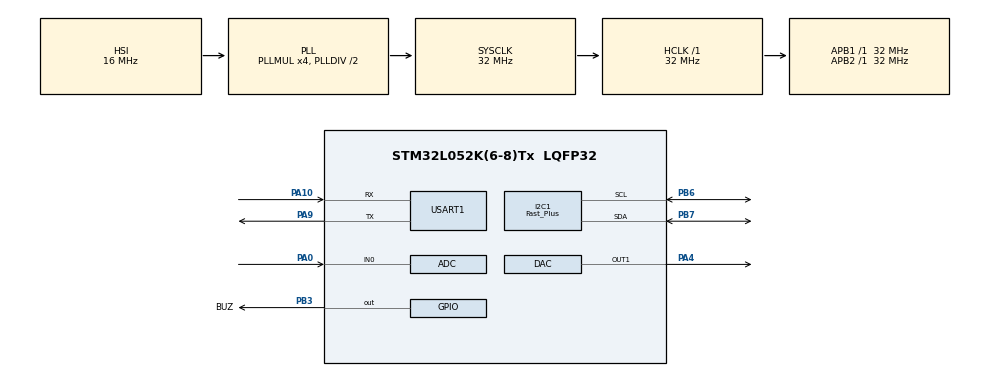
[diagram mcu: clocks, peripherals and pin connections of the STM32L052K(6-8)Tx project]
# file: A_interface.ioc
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ADC.ContinuousConvMode=DISABLE
ADC.DMAContinuousRequests=DISABLE
ADC.EOCSelection=ADC_EOC_SINGLE_CONV
ADC.OversamplingMode=DISABLE
ADC.SamplingTime=ADC_SAMPLETIME_1CYCLE_5
ADC.ScanConvMode=ADC_SCAN_DIRECTION_FORWARD
DAC.DAC_OutputBuffer=DAC_OUTPUTBUFFER_ENABLE
DAC.DAC_Trigger=DAC_TRIGGER_NONE
Dma.ADC.0.Direction=DMA_PERIPH_TO_MEMORY
Dma.ADC.0.Instance=DMA1_Channel1
Dma.ADC.0.MemDataAlignment=DMA_MDATAALIGN_HALFWORD
Dma.ADC.0.MemInc=DMA_MINC_ENABLE
Dma.ADC.0.Mode=DMA_NORMAL
Dma.ADC.0.PeriphDataAlignment=DMA_PDATAALIGN_HALFWORD
Dma.ADC.0.PeriphInc=DMA_PINC_DISABLE
Dma.ADC.0.Priority=DMA_PRIORITY_VERY_HIGH
Dma.Request0=ADC
I2C1.I2C_Speed_Mode=I2C_Fast_Plus
I2C1.Speed=1000
I2C1.Timing=0x00100413
Mcu.Family=STM32L0
Mcu.Name=STM32L052K(6-8)Tx
Mcu.Package=LQFP32
NVIC.DMA1_Channel1_IRQn=true\:0\:0\:false\:false\:true\:false\:true\:true
NVIC.TIM6_DAC_IRQn=true\:0\:0\:false\:true\:true\:1\:true\:true\:true
PA0.Mode=IN0
PA0.Signal=ADC_IN0
PA10.Mode=Asynchronous
PA10.Signal=USART1_RX
PA4.Signal=COMP_DAC1_group
PA9.Mode=Asynchronous
PA9.Signal=USART1_TX
PB3.GPIO_Label=BUZ
PB3.GPIO_PuPd=GPIO_PULLDOWN
PB3.Signal=GPIO_Output
PB6.GPIO_Pu=GPIO_PULLUP
PB6.Mode=I2C
PB6.Signal=I2C1_SCL
PB7.GPIO_Pu=GPIO_PULLUP
PB7.Mode=I2C
PB7.Signal=I2C1_SDA
ProjectManager.HeapSize=0x200
ProjectManager.StackSize=0x400
ProjectManager.TargetToolchain=STM32CubeIDE
RCC.AHBFreq_Value=32000000
RCC.APB1Freq_Value=32000000
RCC.APB1TimFreq_Value=32000000
RCC.APB2Freq_Value=32000000
RCC.APB2TimFreq_Value=32000000
RCC.HCLKFreq_Value=32000000
RCC.HSI16_VALUE=16000000
RCC.HSI48_VALUE=48000000
RCC.HSI_VALUE=16000000
RCC.LSE_VALUE=32768
RCC.MSI_VALUE=2097000
RCC.PLLMUL=RCC_PLLMUL_4
RCC.SYSCLKFreq_VALUE=32000000
RCC.SYSCLKSource=RCC_SYSCLKSOURCE_PLLCLK
RCC.VCOOutputFreq_Value=64000000
SH.COMP_DAC1_group.0=DAC_OUT1,DAC_OUT1
TIM6.Period=600-1
TIM6.Prescaler=4-1
USART1.VirtualMode-Asynchronous=VM_ASYNC
VP_TIM6_VS_ClockSourceINT.Mode=Enable_Timer
board=custom

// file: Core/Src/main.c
/* USER CODE BEGIN Header */
/**
 ******************************************************************************
 * @file           : main.c
 * @brief          : Main program body
 ******************************************************************************
 * @attention
 *
 * Copyright (c) 2023 STMicroelectronics.
 * All rights reserved.
 *
 * This software is licensed under terms that can be found in the LICENSE file
 * in the root directory of this software component.
 * If no LICENSE file comes with this software, it is provided AS-IS.
 *
 ******************************************************************************
 */
/* USER CODE END Header */
#include "main.h"

/* USER CODE BEGIN Includes */
#include <stdio.h>
#include <stdlib.h>
#include <string.h>
#include "DS3231.h"
#include "FT6206.h"
#include "LCD.h"
/* USER CODE END Includes */

/* USER CODE BEGIN PTD */

/* struct define start */
typedef struct{
	uint8_t year, month, day;
	uint8_t hour, min, sec;
}TIME;

typedef struct{
	uint16_t x;
	uint16_t y;
}POS;
/* struct define  end */

/* enum define start */
typedef enum{
	Background_Color_ADDR,
	Text_Color_ADDR,
	Volume_ADDR,
	Pitch_ADDR,
}ADDR;

typedef enum{
	main_menu,
	sound_menu,
	setting_menu,
	select_menu,
}MODE;

typedef enum{
	none_xy,
	have_xy,
}TOUCH_STATE;

typedef enum{
	get_coordinate,
	reset_coordinate,
}readTouchState;

typedef enum{
	PITCH_STATE_0,
	PITCH_STATE_1,
	PITCH_STATE_2,
	PITCH_STATE_3,
	PITCH_STATE_4,
	PITCH_STATE_5,
	PITCH_STATE_6,
	PITCH_STATE_7,
	PITCH_STATE_8,
	PITCH_STATE_9,
	PITCH_STATE_10,
}PITCH_STATE;

typedef enum{
	origin_setting,
	reset_setting,
}SETTING_RESET_STATE;

typedef enum{
	init_time,
	load_time,
}TIME_LOAD_STATE;

typedef enum{
	speaker_off,
	speaker_on,
}SPEAKER_STATE;
/* enum define end */

/* USER CODE END PTD */

/* USER CODE BEGIN PM */
#define RECT 53
#define BUZ(X) BUZ_GPIO_Port->BSRR = (X) ? BUZ_Pin : BUZ_Pin << 16
#define XYsetZero curXY.x = curXY.y = 0
#define SOUND_IN (adcV > 150)
/* USER CODE END PM */

ADC_HandleTypeDef hadc;
DMA_HandleTypeDef hdma_adc;

DAC_HandleTypeDef hdac;

I2C_HandleTypeDef hi2c1;

TIM_HandleTypeDef htim6;

UART_HandleTypeDef huart1;

/* USER CODE BEGIN PV */

const LCD_COLOR lcd_color[6] = { black, blue, green, red, yellow, white };
const uint8_t lastDay[12] = { 31, 28, 31, 30, 31, 30, 31, 31, 30, 31, 30, 31 };

LCD_COLOR set_tcolor = black, set_bcolor = white;
LCD_COLOR txt_color[17] = { black }, back_color[17] = { white };

TS_POINT curXY = { 0, 0, 0 };

TIME time = { 23, 6, 22, 0, 0, 0 };

MODE modeF = main_menu, backupM = main_menu;

TOUCH_STATE touched_check = none_xy;
readTouchState getTouch_state = reset_coordinate;

PITCH_STATE pitch_state = PITCH_STATE_5;

uint8_t firF, buzM, sel;
uint16_t buzC;

uint8_t coor_volume = 135, coor_pitch = 135;
uint16_t max_volume = 75;
uint32_t adcV = 0;

SPEAKER_STATE sound_start = speaker_off;
uint32_t tick = 0, value = 0;
float pitch = 1.0;

/* USER CODE END PV */

void SystemClock_Config(void);
static void MX_GPIO_Init(void);
static void MX_ADC_Init(void);
static void MX_DAC_Init(void);
static void MX_I2C1_Init(void);
static void MX_DMA_Init(void);
static void MX_TIM6_Init(void);
static void MX_USART1_UART_Init(void);
static void MX_NVIC_Init(void);
/* USER CODE BEGIN PFP */

/* Function prototype define Start */
__STATIC_INLINE void time_set(void);
__STATIC_INLINE void time_get(void);
__STATIC_INLINE void pitch_set(void);
__STATIC_INLINE void reset_value(void);
__STATIC_INLINE void system_reset(void);
__STATIC_INLINE void LCD_Clear(LCD_COLOR color);
__STATIC_INLINE void eepWrite(uint8_t addr, uint8_t data);
__STATIC_INLINE uint8_t eepRead(uint8_t addr);
__STATIC_INLINE uint8_t checkReset_status(void);
__STATIC_INLINE uint8_t xy_check(uint16_t x0, uint16_t x1, uint16_t y0, uint16_t y1);
void start(void);
void VP_save(void);
void VP_read(void);
void start_dis(void);
void main_mode(void);
void color_save(void);
void color_read(void);
void select_mode(void);
void All_eepRead(void);
void All_eepWrite(void);
void setting_mode(void);
void modulation_mode(void);
void time_setting(TIME_LOAD_STATE state);
void Init_setting(SETTING_RESET_STATE state);
void LCD_putsXY(uint16_t x, uint16_t y, char* str, LCD_COLOR color, LCD_COLOR bg_color);
void array_puts(POS* pos, char* title, char** arr, LCD_COLOR* color, LCD_COLOR* bg_color, uint8_t num);
/* Function prototype define End */

/* Inline Function Define Start */
__STATIC_INLINE void time_set(void){
	DS3231_set_time(time.sec, time.min, time.hour);
	DS3231_set_date(time.day, time.month, time.year);
}

__STATIC_INLINE void time_get(void){
	DS3231_get_time(&time.sec, &time.min, &time.hour);
	DS3231_get_date(&time.day, &time.month, &time.year);
}

__STATIC_INLINE uint8_t xy_check(uint16_t x0, uint16_t x1, uint16_t y0, uint16_t y1){
	return ((curXY.x >= x0 * 15 && curXY.x <= x1 * 15) && (curXY.y >= y0 * 19 && curXY.y <= y1 * 19));
}

__STATIC_INLINE void LCD_Clear(LCD_COLOR color){
	LCD_FillScreen(color);
}

__STATIC_INLINE void reset_value(void){
	backupM = modeF;
	touched_check = none_xy;
	modeF = firF = buzM = 0;
	XYsetZero;
	LCD_Clear(set_bcolor);
}

__STATIC_INLINE void pitch_set(void){
	switch(pitch_state){
	case PITCH_STATE_10:   pitch =  0.1;     break;
	case PITCH_STATE_9:    pitch =  0.2;     break;
	case PITCH_STATE_8:    pitch =  0.4;     break;
	case PITCH_STATE_7:    pitch =  0.8;     break;
	case PITCH_STATE_6:    pitch =  0.9;     break;
	case PITCH_STATE_5:    pitch =  1.0;     break;
	case PITCH_STATE_4:    pitch =  2.5;     break;
	case PITCH_STATE_3:    pitch =  4.5;     break;
	case PITCH_STATE_2:    pitch =  8.5;     break;
	case PITCH_STATE_1:    pitch =  9.5;     break;
	case PITCH_STATE_0:    pitch = 10.5;     break;
	}
}

__STATIC_INLINE void eepWrite(uint8_t addr, uint8_t data){
	HAL_FLASHEx_DATAEEPROM_Unlock();
	*(__IO uint8_t*)(DATA_EEPROM_BASE + addr) = data;
	HAL_FLASHEx_DATAEEPROM_Lock();
}

__STATIC_INLINE uint8_t eepRead(uint8_t addr){
	return *(__IO uint8_t*)(DATA_EEPROM_BASE + addr);
}

__STATIC_INLINE void system_reset(void){
	HAL_DeInit();
	HAL_NVIC_SystemReset();
}

__STATIC_INLINE uint8_t checkReset_status(void){
	if(__HAL_RCC_GET_FLAG(RCC_FLAG_SFTRST)){
		All_eepRead();

		if(set_tcolor == set_bcolor) { set_tcolor = black; set_bcolor = white; }

		if(coor_volume < 60 || coor_volume > 210) coor_volume = 135;

		if(coor_pitch < 60 || coor_pitch > 210) coor_pitch = 135;

		return 0;
	}
	else{
		Init_setting(reset_setting);

		All_eepWrite();

		Init_setting(origin_setting);

		return 1;
	}
}
/* Inline Function Define End */

/* USER CODE END PFP */

/* USER CODE BEGIN 0 */

void Init_setting(SETTING_RESET_STATE state){
	switch(state){
	case origin_setting:
		coor_volume = 135;
		coor_pitch = 135;

		set_tcolor = black;
		set_bcolor = white;
		break;
	case reset_setting:
		coor_volume = 0;
		coor_pitch = 0;

		set_tcolor = black;
		set_bcolor = black;
		break;
	}
}

void color_save(void){
	eepWrite(Text_Color_ADDR, set_tcolor);
	eepWrite(Background_Color_ADDR, set_bcolor);
}

void color_read(void){
	set_tcolor = eepRead(Text_Color_ADDR);
	set_bcolor = eepRead(Background_Color_ADDR);
}

void VP_save(void){
	eepWrite(Pitch_ADDR, coor_pitch);
	eepWrite(Volume_ADDR, coor_volume);
}

void VP_read(void){
	coor_pitch = eepRead(Pitch_ADDR);
	coor_volume = eepRead(Volume_ADDR);
}

void All_eepRead(void){
	VP_read();
	color_read();
}

void All_eepWrite(void){
	VP_save();
	color_save();
}

void LCD_putsXY(uint16_t x, uint16_t y, char* str, LCD_COLOR color, LCD_COLOR bg_color){
	LCD_DrawText(str, x * 15, y * 19, color, bg_color);
}

void array_puts(POS* pos, char* title, char** arr, LCD_COLOR* color, LCD_COLOR* bg_color, uint8_t num){
	LCD_putsXY(0, 0, title, set_tcolor, set_bcolor);
	for(uint8_t i = 0 ; i < num ; i++)
		LCD_putsXY(pos[i].x, pos[i].y, arr[i], color[i], bg_color[i]);
}

void time_setting(TIME_LOAD_STATE state){
	uint8_t sel = 0;
	TIME set_time = { 23, 6, 22, 0, 0, 0 };

	POS pos[9] = {{5, 4}, {10, 4}, {14, 4}, {6, 5}, {10, 5}, {14, 5}, {7, 8}, {12, 8}, {17, 10}};
	char bf[6][20];

	if(state == load_time){
		time_get();
		set_time = time;
	}

	LCD_Clear(set_bcolor);
	while(1){
		if(!firF){
			firF = 1;

			XYsetZero;

			LCD_putsXY(6, 1, "< Time Setting >", set_tcolor, set_bcolor);
		}

		for(uint8_t i = 0 ; i < 9 ; i++){
			back_color[i] = set_bcolor;
			if(sel == i) {
				if(set_tcolor == white && set_bcolor == black) txt_color[i] = blue;
				else{
					txt_color[i] = (set_tcolor + 1) % 7;
					if(txt_color[i] == set_bcolor) txt_color[i] = (set_bcolor + 1) % 7;
				}
			}
			else txt_color[i] = set_tcolor;
		}
		if(set_time.day > lastDay[set_time.month - 1]) set_time.day = lastDay[set_time.month - 1];

		sprintf(bf[0], "Y:%04d", 2000 + set_time.year);
		sprintf(bf[1], "M:%02d", set_time.month);
		sprintf(bf[2], "D:%02d", set_time.day);
		sprintf(bf[3], "H:%02d", set_time.hour);
		sprintf(bf[4], "m:%02d", set_time.min);
		sprintf(bf[5], "S:%02d", set_time.sec);

		char* array[9] = { bf[0], bf[1], bf[2], bf[3], bf[4], bf[5], "UP", "DOWN", "OK!" };
		array_puts(pos, "", array, txt_color, back_color, 9);

		if((curXY.x >0 || curXY.y > 0)){
			if(xy_check(17, 17 + strlen("OK!"), 10, 11))       break;
			else if(xy_check(5, 5 + strlen(bf[0]), 4, 5))      sel = 0;
			else if(xy_check(10, 10 + strlen(bf[1]), 4, 5))    sel = 1;
			else if(xy_check(14, 14 + strlen(bf[2]), 4, 5))    sel = 2;
			else if(xy_check(6, 7 + strlen(bf[3]), 5, 6))      sel = 3;
			else if(xy_check(10, 10 + strlen(bf[4]), 5, 6))    sel = 4;
			else if(xy_check(14, 14 + strlen(bf[5]), 5, 6))    sel = 5;
			else{
				static uint32_t frev_tick;
				uint32_t now_tick = HAL_GetTick();
				if(now_tick - frev_tick > 500){
					frev_tick = now_tick;
					if(xy_check(7, 7 + strlen("UP"), 7, 9)){
						if(sel == 0 && set_time.year < 99)                                   set_time.year++;
						else if(sel == 1 && set_time.month < 12)                             set_time.month++;
						else if(sel == 2 && set_time.day < lastDay[set_time.month - 1])      set_time.day++;
						else if(sel == 3 && set_time.hour < 23)                              set_time.hour++;
						else if(sel == 4 && set_time.min < 59)                               set_time.min++;
						else if(sel == 5 && set_time.sec < 59)                               set_time.sec++;
					}
					else if(xy_check(12, 12 + strlen("DOWN"), 7, 9)){
						if(sel == 0 && set_time.year > 0)                                    set_time.year--;
						else if(sel == 1 && set_time.month > 1)                              set_time.month--;
						else if(sel == 2 && set_time.day > 1)                                set_time.day--;
						else if(sel == 3 && set_time.hour > 0)                               set_time.hour--;
						else if(sel == 4 && set_time.min > 0)                                set_time.min--;
						else if(sel == 5 && set_time.sec > 0)                                set_time.sec--;
					}
				}
			}
		}
	}
	time = set_time;
	time_set();
	buzM = 1;
	firF = 0;
}

void start_dis(void){
	LCD_Clear(set_bcolor);
	LCD_putsXY(3, 4, "< Skill Competition Task 3 >", set_tcolor, set_bcolor);
	LCD_putsXY(7, 6, "Audio Interface", set_tcolor, set_bcolor);
	HAL_Delay(2000);
}

void start(void){
	uint8_t state = checkReset_status();

	start_dis();

	if(state) time_setting(init_time);
	else LCD_Clear(set_bcolor);
	__HAL_RCC_CLEAR_RESET_FLAGS();
}

void main_mode(void){
	if(!firF){
		firF = 1;
		XYsetZero;
		touched_check = have_xy;

		LCD_Clear(set_bcolor);

		for(uint8_t i = 0 ; i < 17 ; i++){
			txt_color[i] = set_tcolor;
			back_color[i] = set_bcolor;
		}
	}
	time_get();
	char bf[40];
	POS pos[4] = {{0, 1}, {2, 4}, {2, 7}, {15, 1}};
	sprintf(bf, "%04d.%02d.%02d %02d:%02d:%02d", 2000 + time.year, time.month, time.day, time.hour, time.min, time.sec);

	char* array[4] = { bf, "1. Sound modulation", "2. Color Setting", "Back" };
	array_puts(pos, ">Main", array, txt_color, back_color, 4);

	if(touched() == none_xy && touched_check == have_xy) touched_check = none_xy;

	if((curXY.x > 0 || curXY.y > 0) && touched_check == none_xy){
		if(xy_check(2, 2 + strlen("1. Sound modulation") - 6, 4, 4 + 1))        {  reset_value(); modeF = sound_menu;   }
		else if(xy_check(2, 2 + strlen("2. Color Setting") - 6, 7, 7 + 1))      {  reset_value(); modeF = setting_menu; }
		else if(xy_check(0, strlen(bf) - 6, 1, 1 + 1))                          {  firF = 0; time_setting(load_time);   }
		else if(xy_check(15, 15 + strlen("Back"), 1, 1 + 1))                    {  reset_value(); system_reset();       }
		else if(xy_check(0, strlen(">Main"),0, 1))                              {  reset_value(); modeF = select_menu;  }
	}
}

void modulation_mode(void){
	if(!firF){
		firF = 1;

		XYsetZero;
		touched_check = have_xy;

		LCD_Clear(set_bcolor);

		for(uint8_t i = 0 ; i < 17 ; i++){
			txt_color[i] = set_tcolor;
			back_color[i] = set_bcolor;
		}
	}

	for(PITCH_STATE i = PITCH_STATE_0 ; i <= PITCH_STATE_10 ; i++){
		if(coor_pitch >= 60 + (14 * i) && coor_pitch <= 74 + (14 * i)){
			pitch_state = i;
			break;
		}
	}

	max_volume = coor_volume - 60;
	if(max_volume > 100) max_volume = 100;

	time_get();
	char bf[3][20];
	POS pos[6] = {{0, 1}, {15, 1}, {1, 4}, {1, 6}, {1, 8}, {5, 4},};
	sprintf(bf[0], "%04d.%02d.%02d %02d:%02d:%02d", 2000 + time.year, time.month, time.day, time.hour, time.min, time.sec);
	sprintf(bf[1], "Volume: %d   ", max_volume);
	sprintf(bf[2], "Pitch: %d   ", pitch_state);

	txt_color[5] = sound_start == speaker_off ? set_tcolor : set_bcolor;
	back_color[5] = sound_start == speaker_off ? set_bcolor : set_tcolor;

	char* array[6] = { bf[0], "Back", "Sound: ", bf[1], bf[2], sound_start == speaker_off ? "OFF " : "ON " };
	array_puts(pos, ">Modulation", array, txt_color, back_color, 6);

	/* Volume Bar Start */
	LCD_DrawHollowCircle(200, 60, 5, set_tcolor);
	LCD_DrawHollowCircle(200, 210, 5, set_tcolor);
	LCD_DrawVLine(200, 65, 141, set_tcolor);
	LCD_DrawFilledCircle(200, (uint16_t)coor_volume, 10, set_tcolor);
	/* Volume Bar End */

	/* Pitch Bar Start */
	LCD_DrawHollowCircle(250, 60, 5, set_tcolor);
	LCD_DrawHollowCircle(250, 210, 5, set_tcolor);
	LCD_DrawVLine(250, 65, 141, set_tcolor);
	LCD_DrawFilledCircle(250, (uint16_t)coor_pitch, 10, set_tcolor);
	/* Pitch Bar End */

	if(touched() == none_xy && touched_check == have_xy) touched_check = none_xy;

	if((curXY.x > 0 || curXY.y > 0) && touched_check == none_xy){
		if(xy_check(15, 15 + strlen("Back"), 1, 1 + 1)){
			VP_save();
			reset_value();
			buzM = 1;
		}
		else if(xy_check(0, strlen(bf[0]) - 6, 1, 1 + 1)) { firF = 0; time_setting(load_time); }
		else if(xy_check(5, 5 + strlen("OFF"), 4, 4 + 1)) {
			touched_check = have_xy;
//			sound_start = sound_start == speaker_off ? speaker_on : speaker_off;
			if(sound_start == speaker_off) sound_start = speaker_on;
			else sound_start = speaker_off;
		}
		if(curXY.y >= 60 && curXY.y <= 210){
			TS_POINT current_xy = curXY;
			if(curXY.x >= 190 && curXY.x <= 210){
				LCD_DrawFilledCircle(200, (uint16_t)coor_volume, 10, set_bcolor);
				coor_volume = (uint8_t)current_xy.y;
			}
			else if(curXY.x >= 240 && curXY.x <= 260){
				LCD_DrawFilledCircle(250, (uint16_t)coor_pitch, 10, set_bcolor);
				coor_pitch = (uint8_t)current_xy.y;
			}
		}
		else if(xy_check(0, strlen(">Modulation"),0, 1)) { VP_save(); reset_value(); modeF = select_menu; buzM = 1; }
	}
}

void setting_mode(void){
	static LCD_COLOR t_color = white, b_color = black;
	if(!firF){
		firF = 1;

		XYsetZero;
		touched_check = have_xy;

		LCD_Clear(set_bcolor);

		sel = 0;
		t_color = set_tcolor;
		b_color = set_bcolor;

		for(uint8_t i = 0 ; i < 17 ; i++){
			txt_color[i] = set_tcolor;
			back_color[i] = set_bcolor;
		}
	}

	time_get();
	char bf[3][20];
	POS pos[6] = {{0, 1}, {2, 4}, {2, 6}, {14, 4}, {14, 6}, {15, 1}};
	sprintf(bf[0], "%04d.%02d.%02d %02d:%02d:%02d", 2000 + time.year, time.month, time.day, time.hour, time.min, time.sec);

	back_color[1] = sel == 0 ? set_tcolor : set_bcolor;
	back_color[2] = sel == 1 ? set_tcolor : set_bcolor;

	txt_color[1] = sel == 0 ? set_bcolor : set_tcolor;
	txt_color[2] = sel == 1 ? set_bcolor : set_tcolor;

	txt_color[3] = t_color;
	txt_color[4] = b_color;

	sprintf(bf[1], "%s    ", t_color == black ? "Black" : t_color == blue ? "Blue" : t_color == green ? "Green" : t_color == red ? "Red" : t_color == yellow ? "Yellow" : "White");
	sprintf(bf[2], "%s    ", b_color == black ? "Black" : b_color == blue ? "Blue" : b_color == green ? "Green" : b_color == red ? "Red" : b_color == yellow ? "Yellow" : "White");

	for(uint8_t i = 0 ; i < 6 ; i++)
		LCD_DrawFilledRectangleCoord(RECT * i, 190, RECT * (i + 1), 240, lcd_color[i]);
	LCD_DrawFilledRectangleCoord(265, 190, 320, 240, white);

	char* array[6] = { bf[0], "Text Color:", "Background Color:", bf[1], bf[2], "Back" };
	array_puts(pos, ">Setting", array, txt_color, back_color, 6);

	if(touched() == none_xy && touched_check == have_xy) touched_check = none_xy;

	if((curXY.x > 0 || curXY.y > 0) && touched_check == none_xy){
		touched_check = have_xy;
		if(xy_check(15, 15 + strlen("Back"), 1, 1 + 1)){
			if(t_color != b_color){
				set_tcolor = t_color;
				set_bcolor = b_color;
			}
			color_save();
			reset_value();
			buzM = 1;
		}
		else if(xy_check(0, strlen(bf[0]) - 6, 1, 1 + 1)) { firF = 0; time_setting(load_time); }
		else if(xy_check(2, 2 + strlen("Text Color") - 6, 4, 4 + 1))       sel = 0;
		else if(xy_check(2, 2 + strlen("Background Color") - 6, 6, 6 + 1)) sel = 1;
		else if(curXY.y > 190){
			if(curXY.x < RECT)              {  if(sel == 0) t_color = black;    else b_color = black;  }
			else if(curXY.x < RECT * 2)     {  if(sel == 0) t_color = blue;     else b_color = blue;   }
			else if(curXY.x < RECT * 3)     {  if(sel == 0) t_color = green;    else b_color = green;  }
			else if(curXY.x < RECT * 4)     {  if(sel == 0) t_color = red;      else b_color = red;    }
			else if(curXY.x < RECT * 5)     {  if(sel == 0) t_color = yellow;   else b_color = yellow; }
			else if(curXY.x < RECT * 6)     {  if(sel == 0) t_color = white;    else b_color = white;  }
		}
		else if(xy_check(0, strlen(">Setting"), 0, 1)) { color_save(); reset_value(); modeF = select_menu; buzM = 1; }
	}
}

void select_mode(void){
	if(!firF){
		firF = 1;
		XYsetZero;
		touched_check = have_xy;

		LCD_Clear(set_bcolor);
	}

	for(uint8_t i = 0 ; i < 17 ; i++){
		if(i == 1 + backupM){
			txt_color[i] = set_bcolor;
			back_color[i] = set_tcolor;
		}
		else{
			txt_color[i] = set_tcolor;
			back_color[i] = set_bcolor;
		}
	}
	time_get();
	char bf[40];
	POS pos[4] = {{0, 1}, {0, 4}, {0, 6}, {0, 8}};
	sprintf(bf, "%04d.%02d.%02d %02d:%02d:%02d", 2000 + time.year, time.month, time.day, time.hour, time.min, time.sec);

	char* array[4] = { bf, "Main Menu", "Modulation Mode", "Setting Mode" };
	array_puts(pos, ">Mode Select", array, txt_color, back_color, 4);

	if(touched() == none_xy && touched_check == have_xy) touched_check = none_xy;

	if((curXY.x > 0 || curXY.y > 0) && touched_check == none_xy){
		if(xy_check(0, strlen(bf) - 6, 1, 1 + 1))                        { firF = 0; time_setting(load_time);   }
		else if(xy_check(0, strlen("Main Menu"), 4, 4 + 1))              { reset_value(); modeF = main_menu;    }
		else if(xy_check(0, strlen("Modulation Mode"), 6, 6 + 1))        { reset_value(); modeF = sound_menu;   }
		else if(xy_check(0, strlen("Setting Mode"), 8, 8 + 1))           { reset_value(); modeF = setting_menu; }
	}
}

void HAL_SYSTICK_Callback(void){
	if(buzM) buzC++;

	if(buzM == 1){
		if(buzC < 500) BUZ(1);
		else{
			buzM = buzC = 0;
			BUZ(0);
		}
	}

	if(touched() >= have_xy) getTouch_state = get_coordinate;
	else getTouch_state = reset_coordinate;
	curXY = getPoint(getTouch_state);
}

void (*main_fuc[4])(void) = { main_mode, modulation_mode, setting_mode, select_mode };

/* USER CODE END 0 */

int main(void)
{

	/* MCU Configuration--------------------------------------------------------*/

	/* Reset of all peripherals, Initializes the Flash interface and the Systick. */
	HAL_Init();

	/* Configure the system clock */
	SystemClock_Config();

	/* Initialize all configured peripherals */
	MX_GPIO_Init();
	MX_ADC_Init();
	MX_DAC_Init();
	MX_I2C1_Init();
	MX_DMA_Init();
	MX_TIM6_Init();
	MX_USART1_UART_Init();

	/* Initialize interrupts */
	MX_NVIC_Init();
	/* USER CODE BEGIN 2 */
	HAL_TIM_Base_Start_IT(&htim6);
	HAL_DAC_Start(&hdac, DAC_CHANNEL_1);
	HAL_DAC_SetValue(&hdac, DAC_CHANNEL_1, DAC_ALIGN_12B_R, 0);
	INIT_FT6206();
	FT6206_Begin(FT62XX_DEFAULT_THRESHOLD);

	LCD_Clear(set_bcolor);
	start();
	/* USER CODE END 2 */

	/* Infinite loop */
	/* USER CODE BEGIN WHILE */
	while (1)
	{
		main_fuc[modeF]();
		/* USER CODE END WHILE */

	}
}

void SystemClock_Config(void)
{
	RCC_OscInitTypeDef RCC_OscInitStruct = {0};
	RCC_ClkInitTypeDef RCC_ClkInitStruct = {0};
	RCC_PeriphCLKInitTypeDef PeriphClkInit = {0};

	/** Configure the main internal regulator output voltage
	 */
	__HAL_PWR_VOLTAGESCALING_CONFIG(PWR_REGULATOR_VOLTAGE_SCALE1);

	/** Initializes the RCC Oscillators according to the specified parameters
	 * in the RCC_OscInitTypeDef structure.
	 */
	RCC_OscInitStruct.OscillatorType = RCC_OSCILLATORTYPE_HSI;
	RCC_OscInitStruct.HSIState = RCC_HSI_ON;
	RCC_OscInitStruct.HSICalibrationValue = RCC_HSICALIBRATION_DEFAULT;
	RCC_OscInitStruct.PLL.PLLState = RCC_PLL_ON;
	RCC_OscInitStruct.PLL.PLLSource = RCC_PLLSOURCE_HSI;
	RCC_OscInitStruct.PLL.PLLMUL = RCC_PLLMUL_4;
	RCC_OscInitStruct.PLL.PLLDIV = RCC_PLLDIV_2;
	if (HAL_RCC_OscConfig(&RCC_OscInitStruct) != HAL_OK)
	{
		Error_Handler();
	}

	/** Initializes the CPU, AHB and APB buses clocks
	 */
	RCC_ClkInitStruct.ClockType = RCC_CLOCKTYPE_HCLK|RCC_CLOCKTYPE_SYSCLK
			|RCC_CLOCKTYPE_PCLK1|RCC_CLOCKTYPE_PCLK2;
	RCC_ClkInitStruct.SYSCLKSource = RCC_SYSCLKSOURCE_PLLCLK;
	RCC_ClkInitStruct.AHBCLKDivider = RCC_SYSCLK_DIV1;
	RCC_ClkInitStruct.APB1CLKDivider = RCC_HCLK_DIV1;
	RCC_ClkInitStruct.APB2CLKDivider = RCC_HCLK_DIV1;

	if (HAL_RCC_ClockConfig(&RCC_ClkInitStruct, FLASH_LATENCY_1) != HAL_OK)
	{
		Error_Handler();
	}
	PeriphClkInit.PeriphClockSelection = RCC_PERIPHCLK_USART1|RCC_PERIPHCLK_I2C1;
	PeriphClkInit.Usart1ClockSelection = RCC_USART1CLKSOURCE_PCLK2;
	PeriphClkInit.I2c1ClockSelection = RCC_I2C1CLKSOURCE_PCLK1;
	if (HAL_RCCEx_PeriphCLKConfig(&PeriphClkInit) != HAL_OK)
	{
		Error_Handler();
	}
}

/**
 * @brief NVIC Configuration.
 * @retval None
 */
static void MX_NVIC_Init(void)
{
	/* TIM6_DAC_IRQn interrupt configuration */
	HAL_NVIC_SetPriority(TIM6_DAC_IRQn, 0, 0);
	HAL_NVIC_EnableIRQ(TIM6_DAC_IRQn);
}

static void MX_ADC_Init(void)
{

	ADC_ChannelConfTypeDef sConfig = {0};

	/** Configure the global features of the ADC (Clock, Resolution, Data Alignment and number of conversion)
	 */
	hadc.Instance = ADC1;
	hadc.Init.OversamplingMode = DISABLE;
	hadc.Init.ClockPrescaler = ADC_CLOCK_SYNC_PCLK_DIV2;
	hadc.Init.Resolution = ADC_RESOLUTION_12B;
	hadc.Init.SamplingTime = ADC_SAMPLETIME_1CYCLE_5;
	hadc.Init.ScanConvMode = ADC_SCAN_DIRECTION_FORWARD;
	hadc.Init.DataAlign = ADC_DATAALIGN_RIGHT;
	hadc.Init.ContinuousConvMode = DISABLE;
	hadc.Init.DiscontinuousConvMode = DISABLE;
	hadc.Init.ExternalTrigConvEdge = ADC_EXTERNALTRIGCONVEDGE_NONE;
	hadc.Init.ExternalTrigConv = ADC_SOFTWARE_START;
	hadc.Init.DMAContinuousRequests = DISABLE;
	hadc.Init.EOCSelection = ADC_EOC_SINGLE_CONV;
	hadc.Init.Overrun = ADC_OVR_DATA_PRESERVED;
	hadc.Init.LowPowerAutoWait = DISABLE;
	hadc.Init.LowPowerFrequencyMode = DISABLE;
	hadc.Init.LowPowerAutoPowerOff = DISABLE;
	if (HAL_ADC_Init(&hadc) != HAL_OK)
	{
		Error_Handler();
	}

	/** Configure for the selected ADC regular channel to be converted.
	 */
	sConfig.Channel = ADC_CHANNEL_0;
	sConfig.Rank = ADC_RANK_CHANNEL_NUMBER;
	if (HAL_ADC_ConfigChannel(&hadc, &sConfig) != HAL_OK)
	{
		Error_Handler();
	}

}

static void MX_DAC_Init(void)
{

	DAC_ChannelConfTypeDef sConfig = {0};

	/** DAC Initialization
	 */
	hdac.Instance = DAC;
	if (HAL_DAC_Init(&hdac) != HAL_OK)
	{
		Error_Handler();
	}

	/** DAC channel OUT1 config
	 */
	sConfig.DAC_Trigger = DAC_TRIGGER_NONE;
	sConfig.DAC_OutputBuffer = DAC_OUTPUTBUFFER_ENABLE;
	if (HAL_DAC_ConfigChannel(&hdac, &sConfig, DAC_CHANNEL_1) != HAL_OK)
	{
		Error_Handler();
	}

}

static void MX_I2C1_Init(void)
{

	hi2c1.Instance = I2C1;
	hi2c1.Init.Timing = 0x00100413;
	hi2c1.Init.OwnAddress1 = 0;
	hi2c1.Init.AddressingMode = I2C_ADDRESSINGMODE_7BIT;
	hi2c1.Init.DualAddressMode = I2C_DUALADDRESS_DISABLE;
	hi2c1.Init.OwnAddress2 = 0;
	hi2c1.Init.OwnAddress2Masks = I2C_OA2_NOMASK;
	hi2c1.Init.GeneralCallMode = I2C_GENERALCALL_DISABLE;
	hi2c1.Init.NoStretchMode = I2C_NOSTRETCH_DISABLE;
	if (HAL_I2C_Init(&hi2c1) != HAL_OK)
	{
		Error_Handler();
	}

	/** Configure Analogue filter
	 */
	if (HAL_I2CEx_ConfigAnalogFilter(&hi2c1, I2C_ANALOGFILTER_ENABLE) != HAL_OK)
	{
		Error_Handler();
	}

	/** Configure Digital filter
	 */
	if (HAL_I2CEx_ConfigDigitalFilter(&hi2c1, 0) != HAL_OK)
	{
		Error_Handler();
	}

	/** I2C Fast mode Plus enable
	 */
	HAL_I2CEx_EnableFastModePlus(I2C_FASTMODEPLUS_I2C1);

}

static void MX_TIM6_Init(void)
{

	TIM_MasterConfigTypeDef sMasterConfig = {0};

	htim6.Instance = TIM6;
	htim6.Init.Prescaler = 4-1;
	htim6.Init.CounterMode = TIM_COUNTERMODE_UP;
	htim6.Init.Period = 600-1;
	htim6.Init.AutoReloadPreload = TIM_AUTORELOAD_PRELOAD_DISABLE;
	if (HAL_TIM_Base_Init(&htim6) != HAL_OK)
	{
		Error_Handler();
	}
	sMasterConfig.MasterOutputTrigger = TIM_TRGO_RESET;
	sMasterConfig.MasterSlaveMode = TIM_MASTERSLAVEMODE_DISABLE;
	if (HAL_TIMEx_MasterConfigSynchronization(&htim6, &sMasterConfig) != HAL_OK)
	{
		Error_Handler();
	}

}

static void MX_USART1_UART_Init(void)
{

	huart1.Instance = USART1;
	huart1.Init.BaudRate = 115200;
	huart1.Init.WordLength = UART_WORDLENGTH_8B;
	huart1.Init.StopBits = UART_STOPBITS_1;
	huart1.Init.Parity = UART_PARITY_NONE;
	huart1.Init.Mode = UART_MODE_TX_RX;
	huart1.Init.HwFlowCtl = UART_HWCONTROL_NONE;
	huart1.Init.OverSampling = UART_OVERSAMPLING_16;
	huart1.Init.OneBitSampling = UART_ONE_BIT_SAMPLE_DISABLE;
	huart1.AdvancedInit.AdvFeatureInit = UART_ADVFEATURE_NO_INIT;
	if (HAL_UART_Init(&huart1) != HAL_OK)
	{
		Error_Handler();
	}

}

static void MX_DMA_Init(void)
{

	/* DMA controller clock enable */
	__HAL_RCC_DMA1_CLK_ENABLE();

	/* DMA interrupt init */
	/* DMA1_Channel1_IRQn interrupt configuration */
	HAL_NVIC_SetPriority(DMA1_Channel1_IRQn, 0, 0);
	HAL_NVIC_EnableIRQ(DMA1_Channel1_IRQn);

}

static void MX_GPIO_Init(void)
{
	GPIO_InitTypeDef GPIO_InitStruct = {0};

	/* GPIO Ports Clock Enable */
	__HAL_RCC_GPIOA_CLK_ENABLE();
	__HAL_RCC_GPIOB_CLK_ENABLE();

	/*Configure GPIO pin Output Level */
	HAL_GPIO_WritePin(BUZ_GPIO_Port, BUZ_Pin, GPIO_PIN_RESET);

	/*Configure GPIO pin : BUZ_Pin */
	GPIO_InitStruct.Pin = BUZ_Pin;
	GPIO_InitStruct.Mode = GPIO_MODE_OUTPUT_PP;
	GPIO_InitStruct.Pull = GPIO_PULLDOWN;
	GPIO_InitStruct.Speed = GPIO_SPEED_FREQ_LOW;
	HAL_GPIO_Init(BUZ_GPIO_Port, &GPIO_InitStruct);

}

/* USER CODE BEGIN 4 */

void HAL_TIM_PeriodElapsedCallback(TIM_HandleTypeDef *htim){
// If this Code don`t play you need annotation inversion for 'value'

	if(htim->Instance == TIM6){
		HAL_ADC_Start_DMA(&hadc, &adcV, 1);

		pitch_set();
		if(++tick > (adcV / 4) * pitch){
			tick = 0;
//			if(value > 0) value = 0;
//			else value = (uint32_t)max_volume * 40;
			value = value > 0 ? 0 : (uint32_t)max_volume * 40;
		}

		if(sound_start == speaker_on && SOUND_IN) HAL_DAC_SetValue(&hdac, DAC_CHANNEL_1, DAC_ALIGN_12B_R, value);
	}
}

/* USER CODE END 4 */

void Error_Handler(void)
{
	/* USER CODE BEGIN Error_Handler_Debug */
	/* User can add his own implementation to report the HAL error return state */
	__disable_irq();
	while (1)
	{
		HAL_DeInit();
		HAL_NVIC_SystemReset();
	}
	/* USER CODE END Error_Handler_Debug */
}
